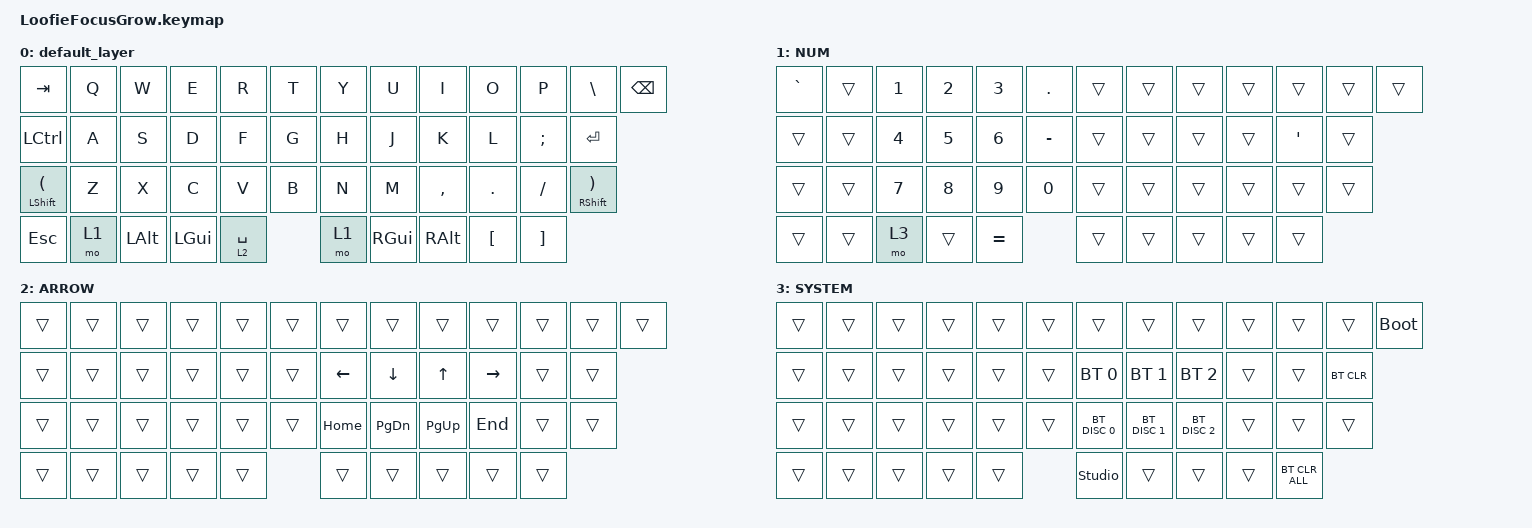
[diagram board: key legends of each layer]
#include <behaviors.dtsi>
#include <dt-bindings/zmk/keys.h>
#include <dt-bindings/zmk/bt.h>

/ {
    chosen {
        zmk,physical-layout = &physical_layout_us;
    };

    combos {
        compatible = "zmk,combos";

        combo_f10 {
            key-positions = <2 3>;
            bindings = <&kp F10>;
        };
    };

    keymap {
        compatible = "zmk,keymap";

        default_layer {
            bindings = <
                &kp TAB         &kp Q  &kp W  &kp E  &kp R  &kp T       &kp Y  &kp U  &kp I      &kp O    &kp P      &kp BSLH  &kp BSPC
                &kp LCTRL       &kp A  &kp S  &kp D  &kp F  &kp G       &kp H  &kp J  &kp K      &kp L    &kp SEMI   &kp ENTER
                &mt LSHFT LPAR  &kp Z  &kp X  &kp C  &kp V  &kp B       &kp N  &kp M  &kp COMMA  &kp DOT  &kp FSLH   &mt RSHFT RPAR
                &kp ESC  &mo 1  &kp LALT  &kp LGUI  &lt 2 SPACE         &mo 1  &kp RGUI  &kp RALT  &kp LBKT  &kp RBKT
            >;
        };
        NUM {
            bindings = <
                &kp GRAVE  &trans  &kp N1  &kp N2  &kp N3  &kp DOT       &trans  &trans  &trans  &trans  &trans   &trans  &trans
                &trans     &trans  &kp N4  &kp N5  &kp N6  &kp MINUS     &trans  &trans  &trans  &trans  &kp SQT  &trans
                &trans     &trans  &kp N7  &kp N8  &kp N9  &kp N0        &trans  &trans  &trans  &trans  &trans   &trans
                &trans     &trans  &mo 3   &trans  &kp EQUAL             &trans  &trans  &trans  &trans  &trans
            >;
        };
        ARROW {
            bindings = <
                &trans  &trans  &trans  &trans  &trans  &trans     &trans    &trans     &trans     &trans     &trans  &trans  &trans
                &trans  &trans  &trans  &trans  &trans  &trans     &kp LEFT  &kp DOWN   &kp UP     &kp RIGHT  &trans  &trans
                &trans  &trans  &trans  &trans  &trans  &trans     &kp HOME  &kp PG_DN  &kp PG_UP  &kp END    &trans  &trans
                &trans  &trans  &trans  &trans  &trans             &trans    &trans     &trans     &trans     &trans
            >;
        };
        SYSTEM {
            bindings = <
                &trans  &trans  &trans  &trans  &trans  &trans     &trans          &trans         &trans         &trans  &trans  &trans  &bootloader
                &trans  &trans  &trans  &trans  &trans  &trans     &bt BT_SEL 0    &bt BT_SEL 1   &bt BT_SEL 2   &trans  &trans  &bt BT_CLR
                &trans  &trans  &trans  &trans  &trans  &trans     &bt BT_DISC 0   &bt BT_DISC 1  &bt BT_DISC 2  &trans  &trans  &trans
                &trans  &trans  &trans  &trans  &trans             &studio_unlock  &trans         &trans         &trans  &bt BT_CLR_ALL
            >;
        };
    };
};
